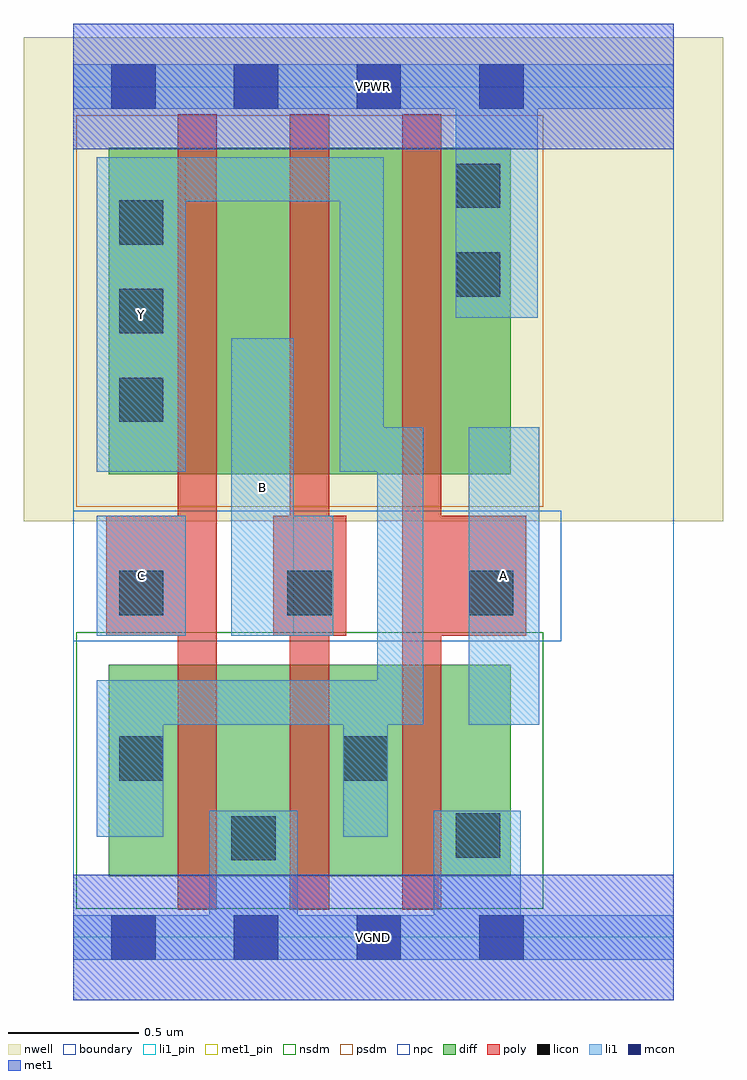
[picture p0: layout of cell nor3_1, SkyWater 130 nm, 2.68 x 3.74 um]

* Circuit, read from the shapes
.subckt nor3_1 A B C VGND VPWR Y
XM1 VGND C Y VSUBS sky130_fd_pr__nfet_01v8 w=0.81 l=0.15
XM2 Y B VGND VSUBS sky130_fd_pr__nfet_01v8 w=0.81 l=0.15
XM3 VGND A Y VSUBS sky130_fd_pr__nfet_01v8 w=0.81 l=0.15
XM4 n1 C Y n2 sky130_fd_pr__pfet_01v8 w=1.25 l=0.15
XM5 n3 B n1 n2 sky130_fd_pr__pfet_01v8 w=1.25 l=0.15
XM6 VPWR A n3 n2 sky130_fd_pr__pfet_01v8 w=1.25 l=0.15
.ends

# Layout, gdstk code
import gdstk
lib = gdstk.Library(unit=1e-6, precision=1e-09)
def R(c, l, rs):  # rectangles x0, y0, x1, y1
    for r in rs: c.add(gdstk.rectangle(r[:2], r[2:], *l))
def A(c, l, x, y, w, h, nx, ny, dx, dy):  # array of equal rectangles
    R(c, l, [(x+i*dx, y+j*dy, x+i*dx+w, y+j*dy+h) for i in range(nx) for j in range(ny)])
nwell = (64, 20)
diff = (65, 20)
poly = (66, 20)
licon = (66, 44)
li1_pin = (67, 16)
li1 = (67, 20)
mcon = (67, 44)
met1_pin = (68, 16)
met1 = (68, 20)
nsdm = (93, 44)
psdm = (94, 20)
npc = (95, 20)
boundary = (235, 4)

nor3_1 = lib.new_cell('nor3_1')
R(nor3_1, nwell, [(-0.19,1.595,2.49,3.45), (0,1.595,2.3,3.45)])
R(nor3_1, diff, [(0.135,0.235,1.675,1.045), (0.135,1.775,1.675,3.025)])
A(nor3_1, poly, 0.4, 0.105, 0.15, 3.05, 3, 1, 0.43, 0)
R(nor3_1, poly, [(0.125,1.155,0.55,1.615), (0.765,1.155,1.045,1.615), (1.26,1.155,1.735,1.615)])
A(nor3_1, licon, 0.175, 1.975, 0.17, 0.17, 1, 3, 0, 0.34)
R(nor3_1, licon, [(0.605,0.295,0.775,0.465), (1.465,0.305,1.635,0.475), (0.175,0.6,0.345,0.77), (1.035,0.6,1.205,0.77), (0.175,1.235,0.345,1.405), (0.82,1.235,0.99,1.405), (1.515,1.235,1.685,1.405), (1.465,2.455,1.635,2.625), (1.465,2.795,1.635,2.965)])
R(nor3_1, li1_pin, [(1.515,0.815,1.785,1.955), (0.09,1.155,0.43,1.615), (0.605,1.155,0.845,2.295), (0.09,1.785,0.43,2.99)])
R(nor3_1, li1, [(0,-0.085,2.3,0.085), (0.52,-0.085,0.86,0.485), (1.38,-0.085,1.715,0.485), (0.09,0.385,0.345,0.985), (1.035,0.385,1.205,0.985), (0.09,0.815,1.34,0.985), (1.165,0.815,1.34,1.955), (1.515,0.815,1.785,1.955), (0.09,1.155,0.43,1.615), (0.605,1.155,0.845,2.295), (0.605,1.155,0.995,1.615), (0.09,1.785,0.43,2.99), (1.02,1.785,1.19,2.99), (1.465,2.375,1.78,3.345), (0.09,2.82,1.19,2.99), (0,3.175,2.3,3.345)])
A(nor3_1, mcon, 0.145, -0.085, 0.17, 0.17, 4, 2, 0.47, 3.26)
R(nor3_1, met1_pin, [(0,-0.24,2.3,0.24), (0,3.02,2.3,3.5)])
R(nor3_1, met1, [(0,-0.24,2.3,0.24), (0,3.02,2.3,3.5)])
R(nor3_1, nsdm, [(0.01,0.11,1.8,1.17)])
R(nor3_1, psdm, [(0.01,1.65,1.8,3.15)])
R(nor3_1, npc, [(0,1.135,1.87,1.635)])
R(nor3_1, boundary, [(0,0,2.3,3.26)])
nor3_1.add(gdstk.Label('A', (1.65,1.385), layer=67, texttype=5))
nor3_1.add(gdstk.Label('B', (0.725,1.725), layer=67, texttype=5))
nor3_1.add(gdstk.Label('C', (0.26,1.385), layer=67, texttype=5))
nor3_1.add(gdstk.Label('Y', (0.26,2.387), layer=67, texttype=5))
nor3_1.add(gdstk.Label('VPWR', (1.15,3.26), layer=68, texttype=5))
nor3_1.add(gdstk.Label('VGND', (1.15,0), layer=68, texttype=5))
nor3_1.add(gdstk.Label('A', (1.65,1.385), layer=67, texttype=16))
nor3_1.add(gdstk.Label('B', (0.725,1.725), layer=67, texttype=16))
nor3_1.add(gdstk.Label('C', (0.26,1.385), layer=67, texttype=16))
nor3_1.add(gdstk.Label('Y', (0.26,2.387), layer=67, texttype=16))
nor3_1.add(gdstk.Label('VPWR', (1.15,3.26), layer=68, texttype=16))
nor3_1.add(gdstk.Label('VGND', (1.15,0), layer=68, texttype=16))

lib.write_gds('nor3_1.gds')
